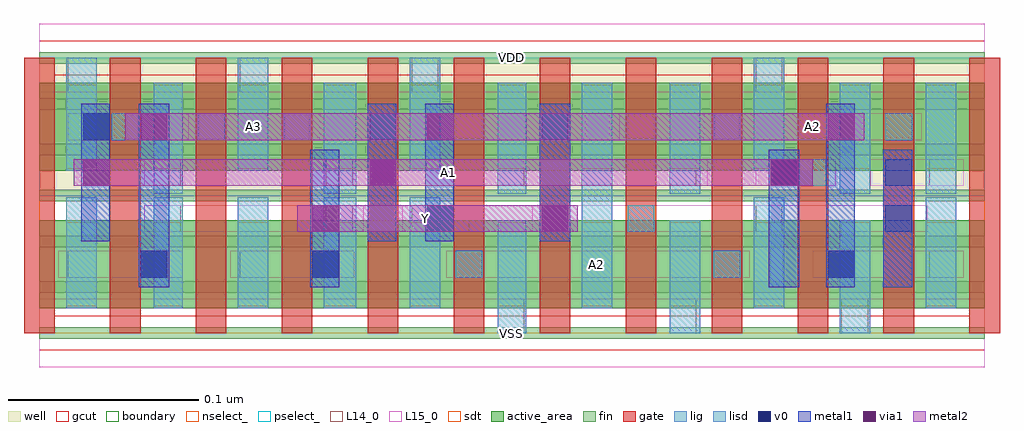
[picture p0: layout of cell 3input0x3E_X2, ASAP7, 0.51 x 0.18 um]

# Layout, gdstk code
import gdstk
lib = gdstk.Library(unit=1e-6, precision=1e-09)
def R(c, l, rs):  # rectangles x0, y0, x1, y1
    for r in rs: c.add(gdstk.rectangle(r[:2], r[2:], *l))
def A(c, l, x, y, w, h, nx, ny, dx, dy):  # array of equal rectangles
    R(c, l, [(x+i*dx, y+j*dy, x+i*dx+w, y+j*dy+h) for i in range(nx) for j in range(ny)])
def P(c, l, *ps):  # polygons
    for p in ps: c.add(gdstk.Polygon(p, *l))
well = (1, 0)
fin = (2, 0)
gate = (7, 0)
gcut = (10, 0)
active_area = (11, 0)
nselect_ = (12, 0)
pselect_ = (13, 0)
L14_0 = (14, 0)
L15_0 = (15, 0)
lig = (16, 0)
lisd = (17, 0)
v0 = (18, 0)
metal1 = (19, 0)
metal2 = (20, 0)
via1 = (21, 0)
sdt = (88, 0)
boundary = (100, 0)

c_3input0x3e_x2 = lib.new_cell('3input0x3E_X2')
R(c_3input0x3e_x2, well, [(0,0.072,0.495,0.144)])
A(c_3input0x3e_x2, fin, 0, -0.003, 0.495, 0.006, 1, 7, 0, 0.024)
A(c_3input0x3e_x2, gate, -0.008, 0, 0.016, 0.144, 12, 1, 0.045, 0)
P(c_3input0x3e_x2, gcut, [(0,-0.009),(0,0),(-0.008,0),(-0.008,0.135),(0.008,0.135),(0.008,0.009),(0.487,0.009),(0.487,0.135),(-0.008,0.135),(-0.008,0.144),(0,0.144),(0,0.153),(0.495,0.153),(0.495,0.144),(0.503,0.144),(0.503,0),(0.495,0),(0.495,-0.009)])
R(c_3input0x3e_x2, active_area, [(0,0.013,0.495,0.059), (0,0.085,0.495,0.131)])
R(c_3input0x3e_x2, nselect_, [(0,0,0.495,0.072)])
R(c_3input0x3e_x2, pselect_, [(0,0.072,0.495,0.144)])
A(c_3input0x3e_x2, L14_0, 0.24, 0, 0.014, 0.018, 3, 1, 0.09, 0)
A(c_3input0x3e_x2, L14_0, 0.06, 0.077, 0.014, 0.014, 4, 1, 0.09, 0)
A(c_3input0x3e_x2, L14_0, 0.038, 0.101, 0.014, 0.014, 4, 1, 0.045, 0)
R(c_3input0x3e_x2, L14_0, [(0.015,0.029,0.03,0.043), (0.105,0.029,0.12,0.043), (0.218,0.029,0.232,0.043), (0.353,0.029,0.367,0.043), (0.466,0.029,0.48,0.043), (0.06,0.053,0.074,0.067), (0.15,0.053,0.164,0.067), (0.195,0.053,0.209,0.067), (0.263,0.053,0.277,0.067), (0.308,0.053,0.322,0.067), (0.375,0.053,0.389,0.067), (0.398,0.077,0.412,0.091), (0.466,0.077,0.48,0.091), (0.286,0.101,0.299,0.115), (0.353,0.101,0.367,0.115), (0.443,0.101,0.457,0.115), (0.015,0.126,0.03,0.144), (0.105,0.126,0.12,0.144), (0.195,0.126,0.209,0.144), (0.375,0.126,0.389,0.144)])
R(c_3input0x3e_x2, L15_0, [(0,-0.018,0.495,0.018), (0.01,0.029,0.075,0.043), (0.1,0.029,0.165,0.043), (0.213,0.029,0.372,0.043), (0.405,0.029,0.484,0.043), (0.055,0.053,0.17,0.067), (0.19,0.053,0.225,0.067), (0.258,0.053,0.465,0.067), (0.055,0.077,0.35,0.091), (0.375,0.077,0.417,0.091), (0.435,0.077,0.484,0.091), (0.015,0.101,0.057,0.115), (0.078,0.101,0.147,0.115), (0.165,0.101,0.202,0.115), (0.255,0.101,0.304,0.115), (0.348,0.101,0.462,0.115), (0,0.126,0.495,0.162)])
A(c_3input0x3e_x2, lig, 0.038, 0.101, 0.014, 0.014, 4, 1, 0.045, 0)
R(c_3input0x3e_x2, lig, [(0.218,0.029,0.232,0.043), (0.353,0.029,0.367,0.043), (0.263,0.053,0.277,0.067), (0.308,0.053,0.322,0.067), (0.398,0.077,0.412,0.091), (0.353,0.101,0.367,0.115), (0.443,0.101,0.457,0.115)])
A(c_3input0x3e_x2, lisd, 0.014, 0.013, 0.016, 0.058, 3, 1, 0.09, 0)
A(c_3input0x3e_x2, lisd, 0.014, 0.085, 0.016, 0.059, 3, 1, 0.09, 0)
R(c_3input0x3e_x2, lisd, [(0.24,0,0.255,0.059), (0.33,0,0.346,0.059), (0.419,0,0.435,0.059), (0.06,0.013,0.075,0.071), (0.149,0.013,0.166,0.071), (0.284,0.013,0.3,0.131), (0.374,0.013,0.39,0.071), (0.464,0.013,0.48,0.071), (0.06,0.073,0.075,0.131), (0.149,0.073,0.166,0.131), (0.24,0.073,0.255,0.131), (0.33,0.073,0.346,0.131), (0.419,0.073,0.435,0.131), (0.464,0.073,0.48,0.131), (0.374,0.085,0.39,0.144)])
R(c_3input0x3e_x2, v0, [(0.053,0.029,0.067,0.043), (0.143,0.029,0.157,0.043), (0.413,0.029,0.427,0.043), (0.203,0.053,0.217,0.067), (0.443,0.053,0.457,0.067), (0.383,0.077,0.397,0.091), (0.443,0.077,0.457,0.091), (0.023,0.101,0.037,0.115), (0.173,0.101,0.187,0.115), (0.263,0.101,0.277,0.115)])
R(c_3input0x3e_x2, metal1, [(0.052,0.024,0.068,0.12), (0.142,0.024,0.157,0.096), (0.382,0.024,0.398,0.096), (0.412,0.024,0.427,0.12), (0.442,0.024,0.457,0.096), (0.022,0.048,0.037,0.12), (0.172,0.048,0.187,0.12), (0.202,0.048,0.217,0.12), (0.262,0.048,0.278,0.12)])
R(c_3input0x3e_x2, metal2, [(0.135,0.053,0.282,0.067), (0.018,0.077,0.405,0.091), (0.045,0.101,0.432,0.115)])
R(c_3input0x3e_x2, via1, [(0.143,0.053,0.157,0.067), (0.263,0.053,0.277,0.067), (0.023,0.077,0.037,0.091), (0.173,0.077,0.187,0.091), (0.383,0.077,0.397,0.091), (0.053,0.101,0.067,0.115), (0.203,0.101,0.217,0.115), (0.413,0.101,0.427,0.115)])
A(c_3input0x3e_x2, sdt, 0.014, 0.014, 0.016, 0.044, 4, 2, 0.09, 0.072)
A(c_3input0x3e_x2, sdt, 0.374, 0.014, 0.016, 0.044, 3, 2, 0.045, 0.072)
R(c_3input0x3e_x2, sdt, [(0.06,0.014,0.075,0.058), (0.149,0.014,0.166,0.058), (0.24,0.014,0.255,0.058), (0.33,0.014,0.346,0.058), (0.06,0.086,0.075,0.13), (0.149,0.086,0.166,0.13), (0.24,0.086,0.255,0.13), (0.33,0.086,0.346,0.13)])
R(c_3input0x3e_x2, boundary, [(0,0,0.495,0.144)])
c_3input0x3e_x2.add(gdstk.Label('VSS', (0.247,0), layer=15, texttype=251))
c_3input0x3e_x2.add(gdstk.Label('VDD', (0.247,0.144), layer=15, texttype=251))
c_3input0x3e_x2.add(gdstk.Label('VSS', (0.247,0), layer=15, texttype=251))
c_3input0x3e_x2.add(gdstk.Label('VDD', (0.247,0.144), layer=15, texttype=251))
c_3input0x3e_x2.add(gdstk.Label('A3', (0.112,0.108), layer=15, texttype=251))
c_3input0x3e_x2.add(gdstk.Label('VSS', (0.247,0), layer=15, texttype=251))
c_3input0x3e_x2.add(gdstk.Label('VDD', (0.247,0.144), layer=15, texttype=251))
c_3input0x3e_x2.add(gdstk.Label('A2', (0.405,0.108), layer=15, texttype=251))
c_3input0x3e_x2.add(gdstk.Label('A2', (0.292,0.036), layer=15, texttype=251))
c_3input0x3e_x2.add(gdstk.Label('VSS', (0.247,0), layer=15, texttype=251))
c_3input0x3e_x2.add(gdstk.Label('VDD', (0.247,0.144), layer=15, texttype=251))
c_3input0x3e_x2.add(gdstk.Label('A1', (0.214,0.084), layer=20, texttype=251))
c_3input0x3e_x2.add(gdstk.Label('Y', (0.202,0.06), layer=20, texttype=251))
c_3input0x3e_x2.add(gdstk.Label('VSS', (0.247,0), layer=3, texttype=251))
c_3input0x3e_x2.add(gdstk.Label('VSS', (0.247,0), layer=3, texttype=251))
c_3input0x3e_x2.add(gdstk.Label('VSS', (0.247,0), layer=3, texttype=251))
c_3input0x3e_x2.add(gdstk.Label('VSS', (0.247,0), layer=3, texttype=251))
c_3input0x3e_x2.add(gdstk.Label('VDD', (0.247,0.144), layer=1, texttype=251))
c_3input0x3e_x2.add(gdstk.Label('VDD', (0.247,0.144), layer=1, texttype=251))
c_3input0x3e_x2.add(gdstk.Label('VDD', (0.247,0.144), layer=1, texttype=251))
c_3input0x3e_x2.add(gdstk.Label('VDD', (0.247,0.144), layer=1, texttype=251))

lib.write_gds('3input0x3E_X2.gds')
